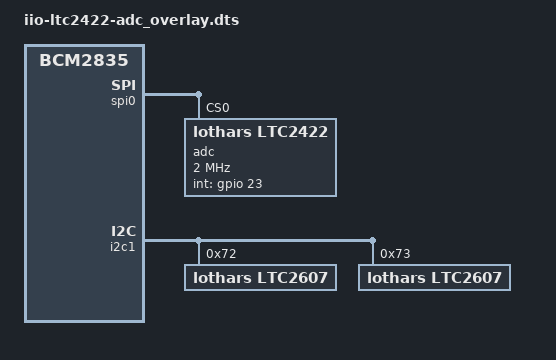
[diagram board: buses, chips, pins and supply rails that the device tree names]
/dts-v1/;
/plugin/;
/ {
	compatible = "raspberrypi,3-model-b", "brcm,bcm2835";
	fragment@0 {
		target = <&gpio>;
		__overlay__ {
 			key_pin: key_pin {
 				brcm,pins = <23>;
 				brcm,function = <0>;  /* input */
 				brcm,pull = <1>;      /* pull down */
 			};
		};
	};
	fragment@1 {
		target = <&spi0>;
		__overlay__ {
			#address-cells = <1>;
			#size-cells = <0>;
			spidev@0 {
				reg = <0>;
				status = "disabled";
			};
			adc: ltc2422@0 {
 				compatible = "lothars,ltc2422";
 				spi-max-frequency = <2000000>;
 				reg = <0>;
 				pinctrl-0 = <&key_pin>;
 				int-gpios = <&gpio 23 0>;
 			};
		};
	};
	fragment@2 {
		target = <&i2c1>;
		__overlay__ {
			#address-cells = <1>;
			#size-cells = <0>;
			status = "okay";

 			ltc2607@72 {
 				compatible = "lothars,ltc2607";
 				reg = <0x72>;
 			};

 			ltc2607@73 {
 				compatible = "lothars,ltc2607";
 				reg = <0x73>;
 			};
		};
	};
};
